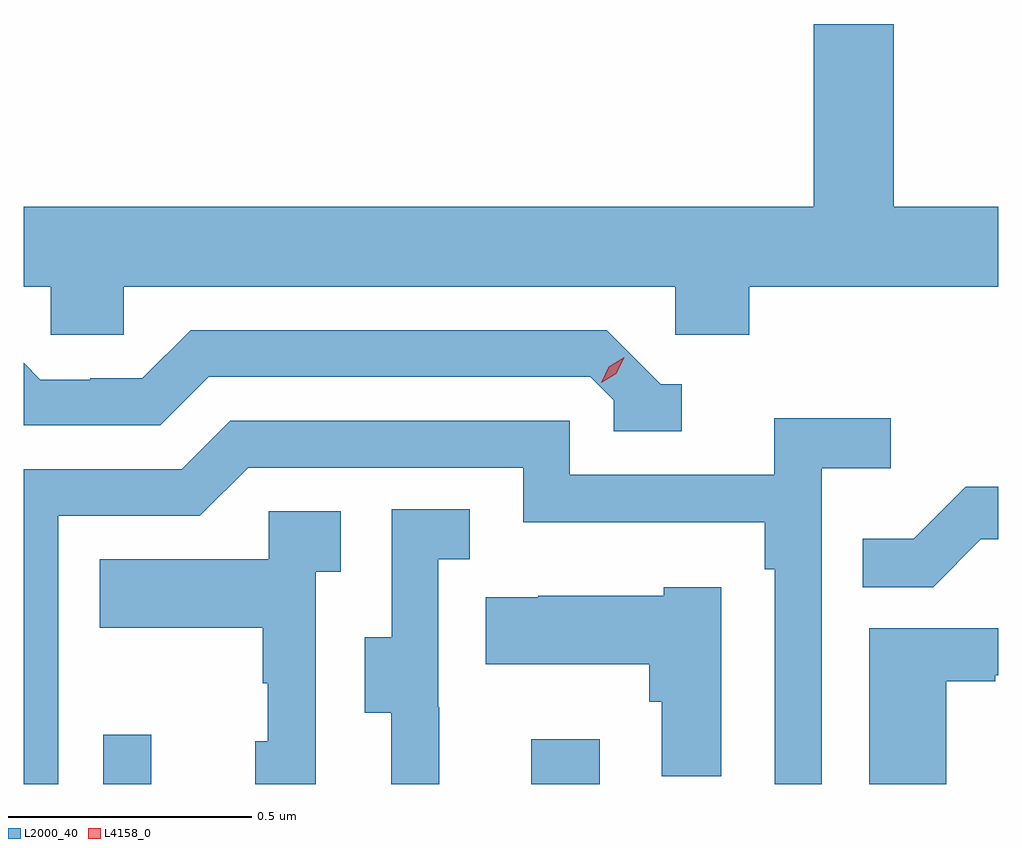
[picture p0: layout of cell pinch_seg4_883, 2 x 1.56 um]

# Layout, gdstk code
import gdstk
lib = gdstk.Library(unit=1e-6, precision=1e-09)
def R(c, l, rs):  # rectangles x0, y0, x1, y1
    for r in rs: c.add(gdstk.rectangle(r[:2], r[2:], *l))
def P(c, l, *ps):  # polygons
    for p in ps: c.add(gdstk.Polygon(p, *l))
L2000_40 = (2000, 40)
L4158_0 = (4158, 0)

pinch_seg4_883 = lib.new_cell('pinch_seg4_883')
R(pinch_seg4_883, L2000_40, [(834.879,801.128,834.977,801.229), (835.757,801.128,835.897,801.22)])
P(pinch_seg4_883, L2000_40, [(834.921,802.148),(836.052,802.148),(836.052,802.05),(836.204,802.05),(836.204,802.148),(836.715,802.148),(836.715,802.312),(836.5,802.312),(836.5,802.687),(836.336,802.687),(836.336,802.312),(834.715,802.312),(834.715,802.148),(834.771,802.148),(834.771,802.05),(834.921,802.05)],
  [(836.065,801.948),(836.022,801.948),(835.911,802.059),(835.058,802.059),(834.959,801.96),(834.852,801.96),(834.852,801.957),(834.749,801.957),(834.715,801.992),(834.715,801.864),(834.996,801.864),(835.095,801.963),(835.878,801.963),(835.926,801.915),(835.926,801.852),(836.065,801.852)],
  [(834.786,801.678),(835.077,801.678),(835.176,801.777),(835.74,801.777),(835.74,801.665),(836.236,801.665),(836.236,801.569),(836.256,801.569),(836.256,801.128),(836.352,801.128),(836.352,801.776),(836.494,801.776),(836.494,801.878),(836.255,801.878),(836.255,801.762),(835.836,801.762),(835.836,801.873),(835.139,801.873),(835.04,801.774),(834.715,801.774),(834.715,801.128),(834.786,801.128)],
  [(836.679,801.63),(836.715,801.63),(836.715,801.738),(836.648,801.738),(836.541,801.631),(836.437,801.631),(836.437,801.532),(836.581,801.532)],
  [(835.568,801.285),(835.566,801.285),(835.566,801.589),(835.63,801.589),(835.63,801.692),(835.47,801.692),(835.47,801.429),(835.415,801.429),(835.415,801.274),(835.469,801.274),(835.469,801.128),(835.568,801.128)],
  [(835.314,801.563),(835.366,801.563),(835.366,801.687),(835.218,801.687),(835.218,801.589),(834.871,801.589),(834.871,801.449),(835.206,801.449),(835.206,801.335),(835.216,801.335),(835.216,801.216),(835.19,801.216),(835.19,801.128),(835.314,801.128)],
  [(836.146,801.532),(836.028,801.532),(836.028,801.514),(835.771,801.514),(835.771,801.511),(835.663,801.511),(835.663,801.374),(835.999,801.374),(835.999,801.297),(836.024,801.297),(836.024,801.144),(836.146,801.144)],
  [(836.608,801.339),(836.708,801.339),(836.708,801.351),(836.715,801.351),(836.715,801.447),(836.45,801.447),(836.45,801.128),(836.608,801.128)])
P(pinch_seg4_883, L4158_0, [(835.9,801.951),(835.9,801.951),(835.916,801.984),(835.947,802.003),(835.947,802.003),(835.947,802.003),(835.931,801.97),(835.9,801.951)])

lib.write_gds('pinch_seg4_883.gds')
